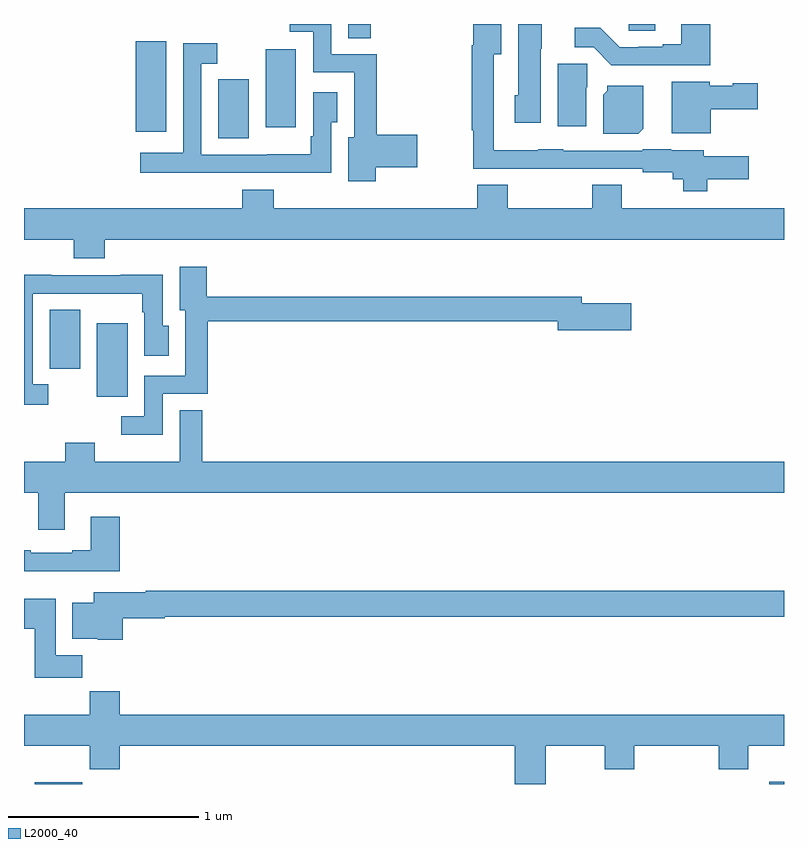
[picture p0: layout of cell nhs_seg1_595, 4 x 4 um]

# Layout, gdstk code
import gdstk
lib = gdstk.Library(unit=1e-6, precision=1e-09)
def R(c, l, rs):  # rectangles x0, y0, x1, y1
    for r in rs: c.add(gdstk.rectangle(r[:2], r[2:], *l))
def P(c, l, *ps):  # polygons
    for p in ps: c.add(gdstk.Polygon(p, *l))
L2000_40 = (2000, 40)

nhs_seg1_595 = lib.new_cell('nhs_seg1_595')
R(nhs_seg1_595, L2000_40, [(143.057,550.199,143.306,550.207), (146.922,550.199,147,550.21), (143.384,552.236,143.545,552.625), (143.135,552.384,143.296,552.695), (144.023,553.597,144.184,553.908), (143.588,553.632,143.749,554.107), (144.272,553.656,144.43,554.065), (144.707,554.125,144.826,554.199), (146.184,554.164,146.323,554.199)])
P(nhs_seg1_595, L2000_40, [(146.597,553.382),(146.815,553.382),(146.815,553.504),(146.578,553.504),(146.578,553.534),(146.406,553.534),(146.406,553.54),(146.256,553.54),(146.256,553.533),(145.839,553.533),(145.839,553.54),(145.707,553.54),(145.707,553.534),(145.473,553.534),(145.473,554.039),(145.513,554.039),(145.513,554.199),(145.365,554.199),(145.365,554.087),(145.357,554.087),(145.357,553.64),(145.365,553.64),(145.365,553.437),(145.607,553.437),(145.607,553.436),(145.839,553.436),(145.839,553.437),(146.256,553.437),(146.256,553.418),(146.414,553.418),(146.414,553.382),(146.469,553.382),(146.469,553.319),(146.597,553.319)],
  [(145.72,554.07),(145.726,554.07),(145.726,554.199),(145.601,554.199),(145.601,553.824),(145.583,553.824),(145.583,553.68),(145.72,553.68)],
  [(146.612,554.199),(146.459,554.199),(146.459,554.092),(146.363,554.092),(146.363,554.079),(146.236,554.079),(146.236,554.076),(146.136,554.076),(146.034,554.179),(145.899,554.179),(145.899,554.076),(145.998,554.076),(146.092,553.982),(146.612,553.982)],
  [(144.851,553.445),(145.069,553.445),(145.069,553.616),(144.856,553.616),(144.856,554.04),(144.618,554.04),(144.618,554.199),(144.399,554.199),(144.399,554.157),(144.522,554.157),(144.522,553.944),(144.737,553.944),(144.737,553.603),(144.707,553.603),(144.707,553.371),(144.851,553.371)],
  [(144.031,553.416),(144.397,553.416),(144.397,553.415),(144.618,553.415),(144.618,553.681),(144.649,553.681),(144.649,553.84),(144.522,553.84),(144.522,553.609),(144.51,553.609),(144.51,553.513),(144.28,553.513),(144.28,553.512),(143.934,553.512),(143.934,553.989),(144.016,553.989),(144.016,554.098),(143.838,554.098),(143.838,553.522),(143.613,553.522),(143.613,553.415),(144.031,553.415)],
  [(145.96,553.866),(145.964,553.866),(145.964,553.989),(145.808,553.989),(145.808,553.662),(145.96,553.662)],
  [(146.614,553.751),(146.863,553.751),(146.863,553.886),(146.73,553.886),(146.73,553.873),(146.61,553.873),(146.61,553.894),(146.408,553.894),(146.408,553.625),(146.614,553.625)],
  [(146.26,553.648),(146.26,553.873),(146.07,553.873),(146.07,553.848),(146.048,553.826),(146.048,553.622),(146.234,553.622)],
  [(143.426,553.064),(147,553.064),(147,553.228),(146.145,553.228),(146.145,553.352),(145.99,553.352),(145.99,553.228),(145.545,553.228),(145.545,553.352),(145.385,553.352),(145.385,553.228),(144.314,553.228),(144.314,553.327),(144.149,553.327),(144.149,553.228),(143,553.228),(143,553.064),(143.261,553.064),(143.261,552.965),(143.426,552.965)],
  [(143.73,552.252),(143.968,552.252),(143.968,552.634),(145.808,552.634),(145.808,552.587),(146.197,552.587),(146.197,552.729),(145.936,552.729),(145.936,552.763),(143.963,552.763),(143.963,552.922),(143.819,552.922),(143.819,552.693),(143.849,552.693),(143.849,552.348),(143.634,552.348),(143.634,552.135),(143.511,552.135),(143.511,552.038),(143.73,552.038)],
  [(143.128,552.303),(143.046,552.303),(143.046,552.78),(143.392,552.78),(143.392,552.779),(143.622,552.779),(143.622,552.683),(143.634,552.683),(143.634,552.453),(143.761,552.453),(143.761,552.612),(143.73,552.612),(143.73,552.878),(143.509,552.878),(143.509,552.876),(143.143,552.876),(143.143,552.878),(143,552.878),(143,552.195),(143.128,552.195)],
  [(143.215,551.732),(147,551.732),(147,551.896),(143.938,551.896),(143.938,552.167),(143.819,552.167),(143.819,551.896),(143.373,551.896),(143.373,551.995),(143.218,551.995),(143.218,551.896),(143,551.896),(143,551.732),(143.075,551.732),(143.075,551.538),(143.215,551.538)],
  [(143.504,551.605),(143.351,551.605),(143.351,551.428),(143.255,551.428),(143.255,551.415),(143.035,551.415),(143.035,551.428),(143,551.428),(143,551.318),(143.504,551.318)],
  [(143.519,551.072),(143.742,551.072),(143.742,551.08),(147,551.08),(147,551.216),(143.642,551.216),(143.642,551.209),(143.366,551.209),(143.366,551.152),(143.255,551.152),(143.255,550.964),(143.388,550.964),(143.388,550.958),(143.519,550.958)],
  [(143.306,550.876),(143.167,550.876),(143.167,551.173),(143,551.173),(143,551.017),(143.057,551.017),(143.057,550.758),(143.306,550.758)],
  [(145.747,550.4),(146.056,550.4),(146.056,550.276),(146.211,550.276),(146.211,550.4),(146.656,550.4),(146.656,550.276),(146.811,550.276),(146.811,550.4),(147,550.4),(147,550.564),(143.504,550.564),(143.504,550.688),(143.347,550.688),(143.347,550.564),(143,550.564),(143,550.4),(143.347,550.4),(143.347,550.276),(143.504,550.276),(143.504,550.4),(145.583,550.4),(145.583,550.199),(145.747,550.199)])

lib.write_gds('nhs_seg1_595.gds')
